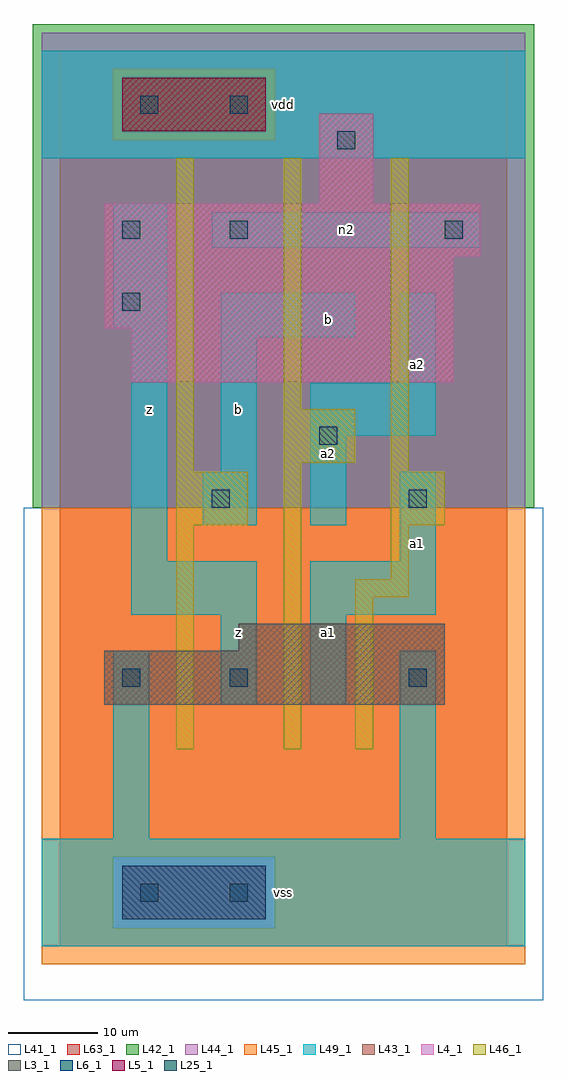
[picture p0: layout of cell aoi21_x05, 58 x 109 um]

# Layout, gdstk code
import gdstk
lib = gdstk.Library(unit=1e-6, precision=1e-09)
def R(c, l, rs):  # rectangles x0, y0, x1, y1
    for r in rs: c.add(gdstk.rectangle(r[:2], r[2:], *l))
L3_1 = (3, 1)
L4_1 = (4, 1)
L5_1 = (5, 1)
L6_1 = (6, 1)
L25_1 = (25, 1)
L41_1 = (41, 1)
L42_1 = (42, 1)
L43_1 = (43, 1)
L44_1 = (44, 1)
L45_1 = (45, 1)
L46_1 = (46, 1)
L49_1 = (49, 1)
L63_1 = (63, 1)

aoi21_x05 = lib.new_cell('aoi21_x05')
R(aoi21_x05, L3_1, [(5,27,43,33), (20,33,43,36)])
R(aoi21_x05, L4_1, [(8,63,44,69), (5,69,44,77), (5,77,47,83), (29,83,35,93)])
R(aoi21_x05, L5_1, [(7,91,23,97)])
R(aoi21_x05, L6_1, [(7,3,23,9)])
R(aoi21_x05, L25_1, [(9,5,11,7), (19,5,21,7), (7,29,9,31), (19,29,21,31), (39,29,41,31), (17,49,19,51), (39,49,41,51), (29,56,31,58), (7,71,9,73), (7,79,9,81), (19,79,21,81), (43,79,45,81), (31,89,33,91), (9,93,11,95), (19,93,21,95)])
R(aoi21_x05, L41_1, [(-4,-6,54,49), (-3,-3,53,49)])
R(aoi21_x05, L42_1, [(-3,49,53,103)])
R(aoi21_x05, L43_1, [(7,3,23,9), (5,27,43,33), (20,33,43,36), (8,63,44,69), (5,69,44,77), (5,77,47,83), (29,83,35,93), (7,91,23,97)])
R(aoi21_x05, L44_1, [(6,2,24,10), (-2,49,52,90), (-2,90,6,98), (24,90,52,98), (-2,98,52,102)])
R(aoi21_x05, L45_1, [(-2,-2,52,2), (-2,2,6,10), (24,2,52,10), (-2,10,52,49), (6,90,24,98)])
R(aoi21_x05, L46_1, [(13,22,15,47), (25,22,27,54), (33,22,35,39), (33,39,39,41), (37,41,39,47), (13,47,21,53), (37,47,43,53), (13,53,15,88), (37,53,39,88), (25,54,33,60), (25,60,27,88)])
R(aoi21_x05, L49_1, [(-2,0,52,12), (6,12,10,33), (38,12,42,33), (18,27,22,37), (28,27,32,37), (8,37,22,43), (28,37,42,43), (8,43,12,69), (38,43,42,53), (16,47,22,53), (28,47,32,57), (18,53,22,68), (28,57,42,63), (38,63,42,73), (18,68,33,73), (6,69,12,83), (17,78,47,82), (-2,88,52,100)])
R(aoi21_x05, L63_1, [(0,0,50,100)])
aoi21_x05.add(gdstk.Label('z', (20,35), layer=49, texttype=1))
aoi21_x05.add(gdstk.Label('z', (20,35), layer=49, texttype=1))
aoi21_x05.add(gdstk.Label('z', (10,60), layer=49, texttype=1))
aoi21_x05.add(gdstk.Label('z', (10,60), layer=49, texttype=1))
aoi21_x05.add(gdstk.Label('b', (20,60), layer=49, texttype=1))
aoi21_x05.add(gdstk.Label('b', (20,60), layer=49, texttype=1))
aoi21_x05.add(gdstk.Label('vss', (25,6), layer=49, texttype=1))
aoi21_x05.add(gdstk.Label('vss', (25,6), layer=49, texttype=1))
aoi21_x05.add(gdstk.Label('a1', (30,35), layer=49, texttype=1))
aoi21_x05.add(gdstk.Label('a1', (30,35), layer=49, texttype=1))
aoi21_x05.add(gdstk.Label('b', (30,70), layer=49, texttype=1))
aoi21_x05.add(gdstk.Label('a2', (30,55), layer=49, texttype=1))
aoi21_x05.add(gdstk.Label('b', (30,70), layer=49, texttype=1))
aoi21_x05.add(gdstk.Label('a2', (30,55), layer=49, texttype=1))
aoi21_x05.add(gdstk.Label('vdd', (25,94), layer=49, texttype=1))
aoi21_x05.add(gdstk.Label('vdd', (25,94), layer=49, texttype=1))
aoi21_x05.add(gdstk.Label('a1', (40,45), layer=49, texttype=1))
aoi21_x05.add(gdstk.Label('a1', (40,45), layer=49, texttype=1))
aoi21_x05.add(gdstk.Label('a2', (40,65), layer=49, texttype=1))
aoi21_x05.add(gdstk.Label('a2', (40,65), layer=49, texttype=1))
aoi21_x05.add(gdstk.Label('n2', (32,80), layer=49, texttype=1))

lib.write_gds('aoi21_x05.gds')
